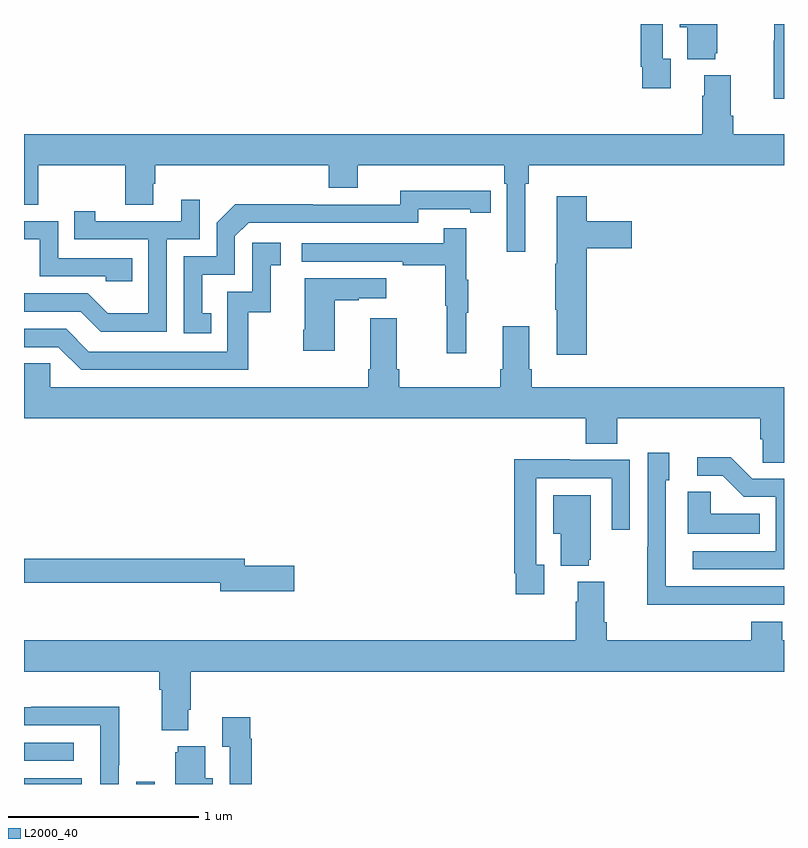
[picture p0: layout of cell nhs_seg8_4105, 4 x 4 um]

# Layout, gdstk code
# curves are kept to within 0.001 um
import gdstk
lib = gdstk.Library(unit=1e-6, precision=1e-09)
def R(c, l, rs):  # rectangles x0, y0, x1, y1
    for r in rs: c.add(gdstk.rectangle(r[:2], r[2:], *l))
def P(c, l, *ps):  # polygons
    for p in ps: c.add(gdstk.Polygon(p, *l))
L2000_40 = (2000, 40)

nhs_seg8_4105 = lib.new_cell('nhs_seg8_4105')
R(nhs_seg8_4105, L2000_40, [(363,1123.9,363.304,1123.93), (363.591,1123.9,363.687,1123.912), (363,1124.022,363.262,1124.118)])
P(nhs_seg8_4105, L2000_40, [(366.403,1127.718),(366.363,1127.718),(366.363,1127.9),(366.247,1127.9),(366.247,1127.674),(366.255,1127.674),(366.255,1127.562),(366.403,1127.562)],
  [(366.638,1127.745),(366.649,1127.745),(366.649,1127.9),(366.452,1127.9),(366.452,1127.882),(366.491,1127.882),(366.491,1127.714),(366.638,1127.714)],
  [(367,1127.9),(366.948,1127.9),(366.948,1127.813),(366.946,1127.813),(366.946,1127.507),(367,1127.507)],
  [(365.638,1127.06),(365.657,1127.06),(365.657,1127.156),(367,1127.156),(367,1127.32),(366.734,1127.32),(366.734,1127.416),(366.721,1127.416),(366.721,1127.629),(366.581,1127.629),(366.581,1127.522),(366.569,1127.522),(366.569,1127.32),(363,1127.32),(363,1126.948),(363.075,1126.948),(363.075,1127.156),(363.532,1127.156),(363.532,1126.948),(363.679,1126.948),(363.679,1127.058),(363.692,1127.058),(363.692,1127.156),(364.604,1127.156),(364.604,1127.039),(364.756,1127.039),(364.756,1127.156),(365.528,1127.156),(365.528,1127.06),(365.541,1127.06),(365.541,1126.701),(365.638,1126.701)],
  [(363.986,1126.377),(363.937,1126.377),(363.937,1126.581),(364.11,1126.581),(364.11,1126.782),(364.182,1126.854),(365.076,1126.854),(365.076,1126.926),(365.348,1126.926),(365.348,1126.906),(365.456,1126.906),(365.456,1127.022),(364.98,1127.023),(364.98,1126.95),(364.52,1126.95),(364.52,1126.952),(364.112,1126.952),(364.014,1126.854),(364.014,1126.677),(363.84,1126.677),(363.84,1126.272),(363.986,1126.272)],
  [(365.963,1126.721),(366.199,1126.721),(366.199,1126.863),(365.963,1126.863),(365.963,1126.993),(365.804,1126.993),(365.804,1126.637),(365.797,1126.637),(365.797,1126.396),(365.804,1126.396),(365.804,1126.158),(365.963,1126.158)],
  [(363.75,1126.767),(363.924,1126.767),(363.924,1126.975),(363.827,1126.975),(363.827,1126.863),(363.376,1126.863),(363.376,1126.915),(363.265,1126.915),(363.265,1126.767),(363.654,1126.767),(363.654,1126.378),(363.44,1126.378),(363.336,1126.482),(363,1126.482),(363,1126.386),(363.299,1126.386),(363.404,1126.281),(363.75,1126.281)],
  [(363.569,1126.668),(363.18,1126.668),(363.18,1126.863),(363,1126.863),(363,1126.767),(363.084,1126.767),(363.084,1126.572),(363.429,1126.572),(363.429,1126.545),(363.569,1126.545)],
  [(365.327,1126.379),(365.338,1126.379),(365.338,1126.553),(365.327,1126.553),(365.327,1126.825),(365.209,1126.825),(365.209,1126.746),(364.461,1126.746),(364.461,1126.65),(364.993,1126.65),(364.993,1126.63),(365.217,1126.63),(365.217,1126.416),(365.224,1126.416),(365.224,1126.167),(365.327,1126.167)],
  [(364.18,1126.383),(364.298,1126.383),(364.298,1126.629),(364.351,1126.629),(364.351,1126.75),(364.2,1126.75),(364.2,1126.491),(364.071,1126.491),(364.071,1126.176),(363.342,1126.176),(363.222,1126.296),(363,1126.296),(363,1126.2),(363.18,1126.2),(363.3,1126.08),(364.18,1126.08)],
  [(364.636,1126.447),(364.763,1126.447),(364.763,1126.457),(364.906,1126.457),(364.906,1126.561),(364.478,1126.561),(364.478,1126.291),(364.471,1126.291),(364.471,1126.179),(364.636,1126.179)],
  [(367,1125.988),(365.672,1125.988),(365.672,1126.084),(365.659,1126.084),(365.659,1126.309),(365.519,1126.309),(365.519,1126.084),(365.507,1126.084),(365.507,1125.988),(364.976,1125.988),(364.976,1126.084),(364.963,1126.084),(364.963,1126.351),(364.823,1126.351),(364.823,1126.084),(364.811,1126.084),(364.811,1125.988),(363.138,1125.988),(363.138,1126.115),(363,1126.115),(363,1125.824),(365.957,1125.824),(365.957,1125.691),(366.122,1125.691),(366.122,1125.824),(366.875,1125.824),(366.875,1125.715),(366.888,1125.715),(366.888,1125.592),(367,1125.592)],
  [(366.743,1124.844),(367,1124.844),(367,1124.94),(366.378,1124.94),(366.378,1125.498),(366.397,1125.498),(366.397,1125.643),(366.282,1125.643),(366.282,1125.149),(366.28,1125.149),(366.28,1124.843),(366.743,1124.843)],
  [(367,1125.507),(366.834,1125.507),(366.721,1125.62),(366.543,1125.62),(366.543,1125.522),(366.677,1125.522),(366.788,1125.411),(366.957,1125.411),(366.957,1125.126),(366.519,1125.126),(366.519,1125.03),(367,1125.03)],
  [(365.737,1125.054),(365.697,1125.054),(365.697,1125.51),(366.093,1125.51),(366.093,1125.237),(366.189,1125.237),(366.189,1125.606),(365.873,1125.606),(365.873,1125.608),(365.581,1125.608),(365.581,1125.01),(365.589,1125.01),(365.589,1124.898),(365.737,1124.898)],
  [(366.872,1125.322),(366.615,1125.322),(366.615,1125.437),(366.494,1125.437),(366.494,1125.218),(366.872,1125.218)],
  [(365.972,1125.081),(365.983,1125.081),(365.983,1125.421),(365.786,1125.421),(365.786,1125.218),(365.825,1125.218),(365.825,1125.05),(365.972,1125.05)],
  [(364.423,1125.05),(364.162,1125.05),(364.162,1125.086),(363,1125.086),(363,1124.958),(364.034,1124.958),(364.034,1124.915),(364.423,1124.915)],
  [(363.865,1124.29),(363.878,1124.29),(363.878,1124.492),(367,1124.492),(367,1124.656),(366.992,1124.656),(366.992,1124.755),(366.827,1124.755),(366.827,1124.656),(366.068,1124.656),(366.068,1124.752),(366.055,1124.752),(366.055,1124.965),(365.915,1124.965),(365.915,1124.858),(365.903,1124.858),(365.903,1124.656),(363,1124.656),(363,1124.492),(363.713,1124.492),(363.713,1124.396),(363.725,1124.396),(363.725,1124.183),(363.865,1124.183)],
  [(363.498,1123.999),(363.501,1123.999),(363.501,1124.306),(363.037,1124.306),(363.037,1124.304),(363,1124.304),(363,1124.208),(363.401,1124.208),(363.401,1123.954),(363.402,1123.954),(363.402,1123.9),(363.498,1123.9)],
  [(364.199,1124.138),(364.192,1124.138),(364.192,1124.251),(364.043,1124.251),(364.043,1124.095),(364.083,1124.095),(364.083,1123.9),(364.199,1123.9)],
  [(363.994,1123.93),(363.955,1123.93),(363.955,1124.098),(363.809,1124.098),(363.809,1124.067),(363.797,1124.067),(363.797,1123.9),(363.994,1123.9)])

lib.write_gds('nhs_seg8_4105.gds')
